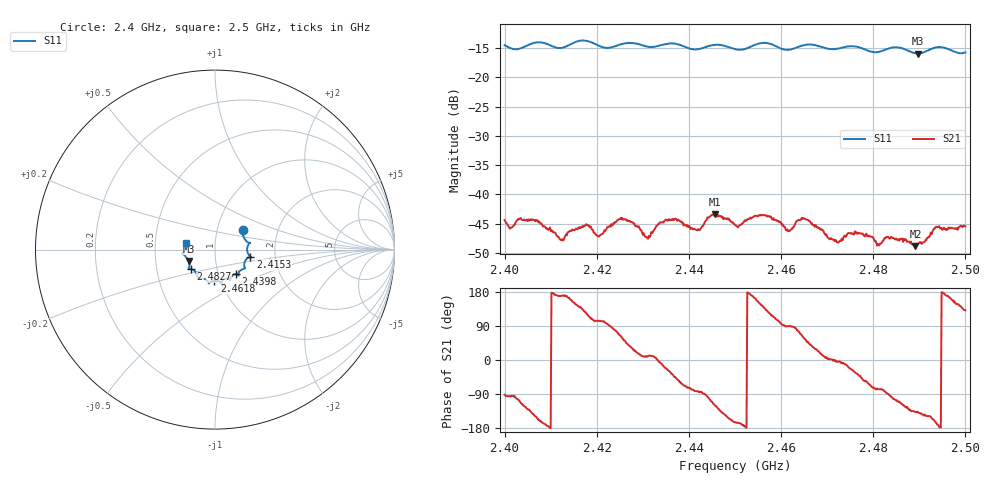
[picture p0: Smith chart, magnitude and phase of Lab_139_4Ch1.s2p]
# Hz S RI R
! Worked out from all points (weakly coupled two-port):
!   601 points, 2.4 GHz to 2.5 GHz, reference 50 ohm
!   highest |S21| = -43.36 dB at 2.4457 GHz (marker M1); lowest = -48.9 dB at 2.4892 GHz (marker M2)
!   lowest |S11| = -15.9 dB at 2.4897 GHz (marker M3), VSWR 1.38, Z = 36.9 - j4.83 ohm
!   |S11| at or under -10 dB: start of sweep to end of sweep
!   S12 and S22 are empty: the file has one direction only
!   S11 on the Smith chart (normalised r, x): 2.4 GHz: 1.33, +0.30; 2.4153 GHz: 1.48, -0.12; 2.4398 GHz: 1.21, -0.34; 2.4618 GHz: 0.94, -0.33; 2.4827 GHz: 0.75, -0.17; 2.5 GHz: 0.72, +0.06
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2.4e9  0.1554 0.107  -0.000202 -0.00603  0 0  0 0
2.406667e9  0.1953 0.0375  -0.00501 -0.00307  0 0  0 0
2.412333e9  0.1788 -0.00497  -0.00402 0.000704  0 0  0 0
2.415333e9  0.1968 -0.0397  -0.00425 0.00269  0 0  0 0
2.416667e9  0.2024 -0.0435  -0.00387 0.00358  0 0  0 0
2.4205e9  0.1799 -0.0493  -0.00104 0.00424  0 0  0 0
2.425667e9  0.1662 -0.1004  0.0034 0.00504  0 0  0 0
2.431e9  0.1425 -0.1154  0.00415 0.000639  0 0  0 0
2.433333e9  0.1297 -0.1337  0.00558 -0.000158  0 0  0 0
2.439833e9  0.1156 -0.1357  0.00156 -0.00501  0 0  0 0
2.445667e9  0.0842 -0.1704  -0.0034 -0.00588  0 0  0 0
2.45e9  0.0654 -0.1622  -0.00527 -0.00148  0 0  0 0
2.456333e9  0.0389 -0.1941  -0.00492 0.00442  0 0  0 0
2.461833e9  -0.00351 -0.1729  3.28e-05 0.00485  0 0  0 0
2.466667e9  -0.0349 -0.1879  0.00451 0.00342  0 0  0 0
2.472e9  -0.0701 -0.1611  0.00398 -0.000339  0 0  0 0
2.482667e9  -0.1348 -0.1087  0.000332 -0.0042  0 0  0 0
2.483333e9  -0.1399 -0.1083  -4.47e-06 -0.00429  0 0  0 0
2.489167e9  -0.1443 -0.0709  -0.00263 -0.00247  0 0  0 0
2.489667e9  -0.1469 -0.0638  -0.00276 -0.00259  0 0  0 0
2.493833e9  -0.1801 -0.023  -0.00521 -0.000974  0 0  0 0
2.5e9  -0.1593 0.0386  -0.00351 0.00402  0 0  0 0
